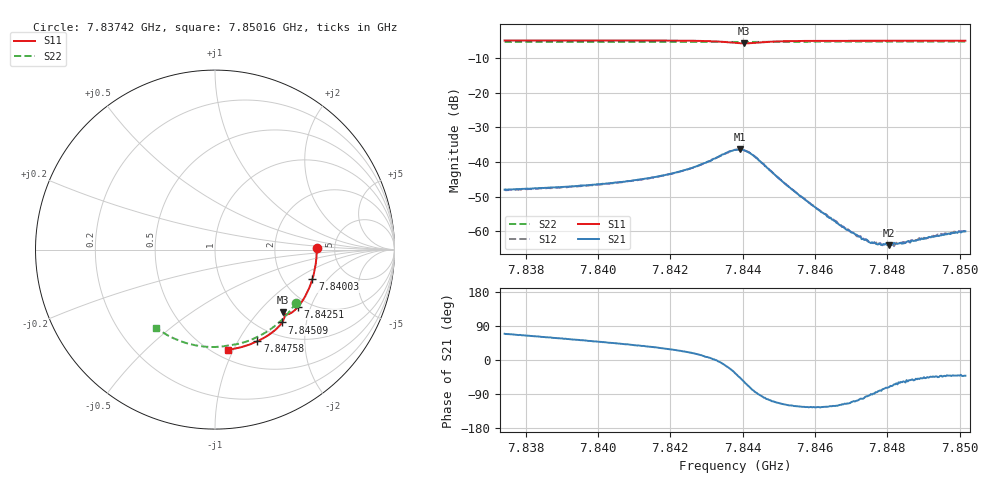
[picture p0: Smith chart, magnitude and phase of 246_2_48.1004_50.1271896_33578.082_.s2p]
#  HZ  S  RI  R  50.00
! Rohde & Schwarz Vector Network Analyzer
! Rohde-Schwarz,ZNB20-2Port,1311601062101988,3.16
! Created: UTC 12/23/2023, 3:59:17 AM
! freq[Hz]  re:S11  im:S11  re:S21  im:S21  re:S12  im:S12  re:S22  im:S22
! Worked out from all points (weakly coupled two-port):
!   401 points, 7.83742 GHz to 7.85016 GHz, reference 50 ohm
!   highest |S21| = -36.31 dB at 7.84392 GHz (marker M1); lowest = -64.0 dB at 7.84806 GHz (marker M2)
!   lowest |S11| = -5.8 dB at 7.84404 GHz (marker M3), VSWR 3.12, Z = 72.1 - j68.6 ohm
!   |S11| at or under -10 dB: nowhere
!   |S22| runs from -5.4 to -5.3 dB; largest |S21 - S12| = 0.00031
!   S11 on the Smith chart (normalised r, x): 7.83742 GHz: 3.61, +0.09; 7.84003 GHz: 2.88, -1.39; 7.84251 GHz: 1.76, -1.64; 7.84509 GHz: 1.25, -1.46; 7.84758 GHz: 0.81, -1.21; 7.85016 GHz: 0.58, -0.95
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7.837418e9  0.5663 0.00833  0.00142 0.00375  0.00146 0.00367  0.4521 -0.2948
7.839552e9  0.5511 -0.1329  0.00279 0.00362  0.0028 0.00358  0.3549 -0.4076
7.840029e9  0.5427 -0.1638  0.0032 0.00356  0.00315 0.00353  0.329 -0.429
7.840921e9  0.5218 -0.2206  0.0041 0.00345  0.00406 0.00347  0.2774 -0.4645
7.841686e9  0.4977 -0.2681  0.00529 0.00332  0.00522 0.00331  0.2301 -0.49
7.842514e9  0.4638 -0.3175  0.0075 0.00274  0.00745 0.00275  0.1761 -0.5119
7.84331e9  0.4154 -0.3572  0.0118 -0.000604  0.0117 -0.000659  0.122 -0.5267
7.843788e9  0.3808 -0.3578  0.0124 -0.00853  0.0124 -0.00836  0.0901 -0.5315
7.843915e9  0.3769 -0.3532  0.0107 -0.011  0.0106 -0.0109  0.0819 -0.5327
7.844043e9  0.3773 -0.3498  0.00787 -0.0125  0.00789 -0.0124  0.074 -0.5338
7.84417e9  0.3808 -0.3494  0.00478 -0.0129  0.0049 -0.013  0.0659 -0.5353
7.844329e9  0.3856 -0.3547  0.00137 -0.0119  0.00167 -0.012  0.0556 -0.5373
7.845094e9  0.3737 -0.4059  -0.0023 -0.00474  -0.00229 -0.00477  0.00228 -0.5427
7.845922e9  0.3329 -0.45  -0.00137 -0.00196  -0.00134 -0.00199  -0.0562 -0.5408
7.846814e9  0.2824 -0.486  -0.000481 -0.00101  -0.000498 -0.001  -0.1183 -0.5312
7.847164e9  0.2616 -0.4979  -0.000263 -0.000844  -0.000234 -0.000811  -0.1423 -0.5256
7.847578e9  0.2367 -0.5106  -1.39e-05 -0.000695  -2.4e-05 -0.000685  -0.1701 -0.5175
7.847897e9  0.217 -0.5195  0.000153 -0.000638  0.000128 -0.000642  -0.1912 -0.5103
7.848056e9  0.207 -0.5235  0.000201 -0.000597  0.000223 -0.000621  -0.2018 -0.5062
7.848565e9  0.1749 -0.5351  0.000397 -0.000601  0.000401 -0.000579  -0.2347 -0.4923
7.849648e9  0.1048 -0.5529  0.000693 -0.000584  0.000683 -0.000612  -0.3009 -0.4554
7.850158e9  0.0714 -0.5579  0.000751 -0.000662  0.000745 -0.000652  -0.3302 -0.4349
